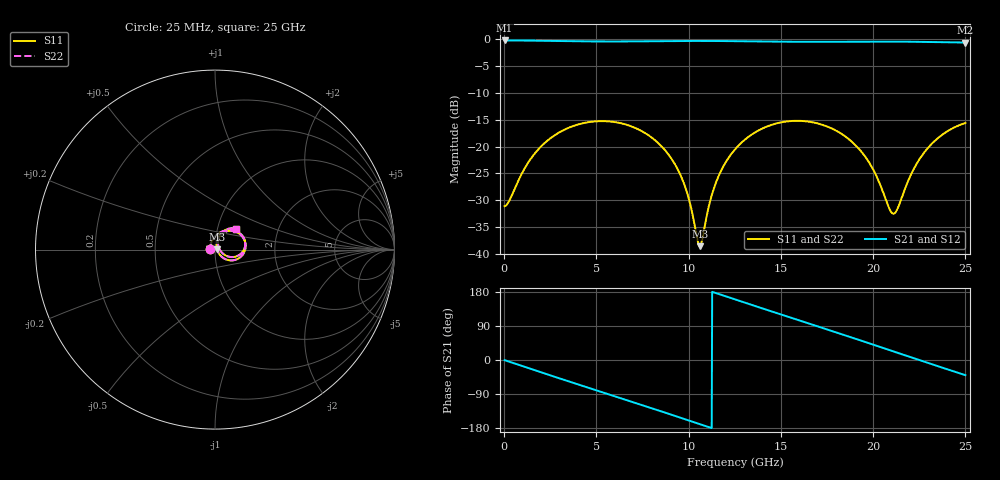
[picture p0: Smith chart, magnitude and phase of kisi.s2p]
! thru_BV_vna_clk_w5_out: 2×thru In3.Cu, 6 mm
! stackup: as the board case
! ports: 1 near, 2 far
! kisi-fdtd, conformal, dfine 0.07 mm, 264384 cells
# Hz S RI R 50
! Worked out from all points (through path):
!   1000 points, 25 MHz to 25 GHz, reference 50 ohm
!   highest |S21| = -0.24 dB at 25 MHz (marker M1); lowest = -0.6 dB at 25 GHz (marker M2)
!   group delay of S21, straight-line fit = 44.4 ps
!   lowest |S11| = -38.5 dB at 10.6 GHz (marker M3), VSWR 1.02, Z = 51.2 + j0.268 ohm
!   |S11| at or under -10 dB: start of sweep to end of sweep
!   |S22| runs from -38.5 to -15.2 dB; largest |S21 - S12| = 0
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2.5e7  -0.0278 0.00149  0.9723 -0.00692  0.9723 -0.00692  -0.0278 0.00149
1.9e9  0.0244 0.0931  0.83 -0.4962  0.83 -0.4962  0.0244 0.0931
4.2e9  0.1403 0.0848  0.3651 -0.8819  0.3651 -0.8819  0.1403 0.0848
6.275e9  0.1655 -0.00793  -0.1661 -0.9368  -0.1661 -0.9368  0.1655 -0.00793
8.35e9  0.0896 -0.0603  -0.6517 -0.7015  -0.6517 -0.7015  0.0896 -0.0603
9.075e9  0.0562 -0.0524  -0.7816 -0.5571  -0.7816 -0.5571  0.0562 -0.0524
9.65e9  0.0338 -0.0367  -0.8624 -0.4246  -0.8624 -0.4246  0.0338 -0.0367
1e10  0.0231 -0.0237  -0.9006 -0.3378  -0.9006 -0.3378  0.0231 -0.0237
1.0475e10  0.0132 -0.00318  -0.938 -0.2143  -0.938 -0.2143  0.0132 -0.00318
1.06e10  0.0115 0.00262  -0.945 -0.181  -0.945 -0.181  0.0115 0.00262
1.1475e10  0.0119 0.0444  -0.9595 0.0558  -0.9595 0.0558  0.0119 0.0444
1.2525e10  0.0383 0.0866  -0.8984 0.3321  -0.8984 0.3321  0.0383 0.0866
1.47e10  0.1329 0.0949  -0.5435 0.7771  -0.5435 0.7771  0.1329 0.0949
1.6675e10  0.1677 0.0196  -0.0621 0.9425  -0.0621 0.9425  0.1677 0.0196
1.7925e10  0.1403 -0.0262  0.2617 0.9093  0.2617 0.9093  0.1403 -0.0262
1.92e10  0.0873 -0.0412  0.5644 0.7631  0.5644 0.7631  0.0873 -0.0412
2.005e10  0.0517 -0.0283  0.7307 0.6077  0.7307 0.6077  0.0517 -0.0283
2.085e10  0.0271 -0.00172  0.8486 0.4274  0.8486 0.4274  0.0271 -0.00172
2.125e10  0.0198 0.0152  0.8909 0.3281  0.8909 0.3281  0.0198 0.0152
2.2175e10  0.0188 0.0577  0.942 0.0851  0.942 0.0851  0.0188 0.0577
2.305e10  0.0377 0.0933  0.9292 -0.147  0.9292 -0.147  0.0377 0.0933
2.5e10  0.1193 0.1149  0.7118 -0.5987  0.7118 -0.5987  0.1193 0.1149
